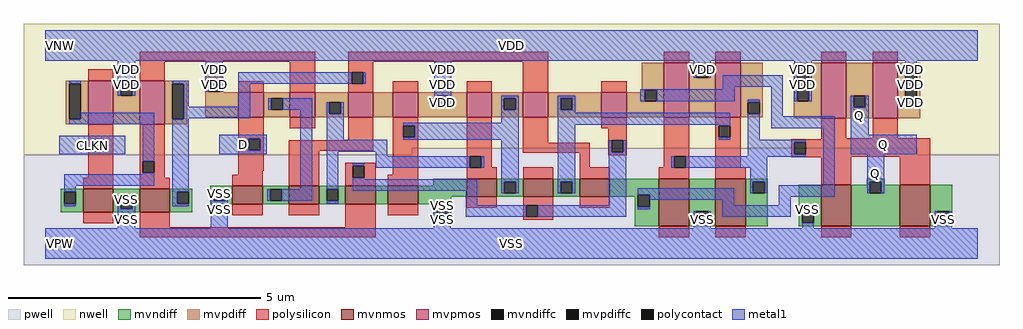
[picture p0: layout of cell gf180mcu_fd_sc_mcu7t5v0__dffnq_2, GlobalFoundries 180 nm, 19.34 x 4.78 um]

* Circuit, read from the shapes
.subckt gf180mcu_fd_sc_mcu7t5v0__dffnq_2 D CLKN Q VDD VNW VPW VSS
XM1 VSS CLKN n1 VPW nfet_06v0 w=0.465u l=0.6u
XM2 n2 n1 VSS VPW nfet_06v0 w=0.465u l=0.6u
XM3 n3 D VSS VPW nfet_06v0 w=0.36u l=0.6u
XM4 n4 n2 n3 VPW nfet_06v0 w=0.36u l=0.6u
XM5 n5 n1 n4 VPW nfet_06v0 w=0.36u l=0.6u
XM6 VSS n6 n5 VPW nfet_06v0 w=0.36u l=0.6u
XM7 n6 n4 VSS VPW nfet_06v0 w=0.36u l=0.6u
XM8 n7 n1 n6 VPW nfet_06v0 w=0.36u l=0.6u
XM9 n8 n2 n7 VPW nfet_06v0 w=0.36u l=0.6u
XM10 VSS n9 n8 VPW nfet_06v0 w=0.945u l=0.6u
XM11 n9 n7 VSS VPW nfet_06v0 w=0.945u l=0.6u
XM12 Q n9 VSS VPW nfet_06v0 w=0.82u l=0.6u m=2
XM13 VDD CLKN n1 VNW pfet_06v0 w=0.865u l=0.5u
XM14 n2 n1 VDD VNW pfet_06v0 w=0.865u l=0.5u
XM15 n3 D VDD VNW pfet_06v0 w=0.495u l=0.5u
XM16 n4 n1 n3 VNW pfet_06v0 w=0.495u l=0.5u
XM17 n10 n2 n4 VNW pfet_06v0 w=0.495u l=0.5u
XM18 VDD n6 n10 VNW pfet_06v0 w=0.495u l=0.5u
XM19 n6 n4 VDD VNW pfet_06v0 w=0.495u l=0.5u
XM20 n7 n2 n6 VNW pfet_06v0 w=0.495u l=0.5u
XM21 n8 n1 n7 VNW pfet_06v0 w=0.495u l=0.5u
XM22 VDD n9 n8 VNW pfet_06v0 w=1.075u l=0.5u
XM23 n9 n7 VDD VNW pfet_06v0 w=1.075u l=0.5u
XM24 Q n9 VDD VNW pfet_06v0 w=1.095u l=0.5u m=2
.ends

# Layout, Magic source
magic
tech gf180mcuD
magscale 1 10
<< nwell >>
rect -86 377 3782 870
rect -86 352 1453 377
rect 3455 352 3782 377
<< pwell >>
rect 1453 352 3455 377
rect -86 -86 3782 352
<< mvnmos >>
rect 150 124 270 217
rect 374 124 494 217
rect 742 156 862 228
rect 966 156 1086 228
rect 1190 156 1310 228
rect 1358 156 1478 228
rect 1670 185 1790 257
rect 1894 185 2014 257
rect 2118 185 2238 257
rect 2432 68 2552 257
rect 2656 68 2776 257
rect 3075 68 3195 232
rect 3387 68 3507 232
<< mvpmos >>
rect 170 472 270 645
rect 374 472 474 645
rect 766 500 866 599
rect 970 500 1070 599
rect 1201 500 1301 599
rect 1378 500 1478 599
rect 1670 500 1770 599
rect 1893 500 1993 599
rect 2204 500 2304 599
rect 2452 500 2552 715
rect 2656 500 2756 715
rect 3075 497 3175 716
rect 3279 497 3379 716
<< mvndiff >>
rect 1538 228 1670 257
rect 62 204 150 217
rect 62 158 75 204
rect 121 158 150 204
rect 62 124 150 158
rect 270 183 374 217
rect 270 137 299 183
rect 345 137 374 183
rect 270 124 374 137
rect 494 204 582 217
rect 494 158 523 204
rect 569 158 582 204
rect 494 124 582 158
rect 654 215 742 228
rect 654 169 667 215
rect 713 169 742 215
rect 654 156 742 169
rect 862 215 966 228
rect 862 169 891 215
rect 937 169 966 215
rect 862 156 966 169
rect 1086 215 1190 228
rect 1086 169 1115 215
rect 1161 169 1190 215
rect 1086 156 1190 169
rect 1310 156 1358 228
rect 1478 185 1670 228
rect 1790 244 1894 257
rect 1790 198 1819 244
rect 1865 198 1894 244
rect 1790 185 1894 198
rect 2014 244 2118 257
rect 2014 198 2043 244
rect 2089 198 2118 244
rect 2014 185 2118 198
rect 2238 192 2432 257
rect 2238 185 2349 192
rect 1478 162 1610 185
rect 1478 156 1551 162
rect 1538 116 1551 156
rect 1597 116 1610 162
rect 1538 103 1610 116
rect 2336 146 2349 185
rect 2395 146 2432 192
rect 2336 68 2432 146
rect 2552 127 2656 257
rect 2552 81 2581 127
rect 2627 81 2656 127
rect 2552 68 2656 81
rect 2776 244 2864 257
rect 2776 198 2805 244
rect 2851 198 2864 244
rect 3255 244 3327 257
rect 3255 232 3268 244
rect 2776 68 2864 198
rect 2987 127 3075 232
rect 2987 81 3000 127
rect 3046 81 3075 127
rect 2987 68 3075 81
rect 3195 198 3268 232
rect 3314 232 3327 244
rect 3314 198 3387 232
rect 3195 68 3387 198
rect 3507 127 3595 232
rect 3507 81 3536 127
rect 3582 81 3595 127
rect 3507 68 3595 81
<< mvpdiff >>
rect 634 647 706 660
rect 82 632 170 645
rect 82 492 95 632
rect 141 492 170 632
rect 82 472 170 492
rect 270 632 374 645
rect 270 586 299 632
rect 345 586 374 632
rect 270 472 374 586
rect 474 632 562 645
rect 474 492 503 632
rect 549 492 562 632
rect 634 601 647 647
rect 693 601 706 647
rect 634 599 706 601
rect 2364 609 2452 715
rect 2364 599 2377 609
rect 634 500 766 599
rect 866 575 970 599
rect 866 529 895 575
rect 941 529 970 575
rect 866 500 970 529
rect 1070 559 1201 599
rect 1070 513 1126 559
rect 1172 513 1201 559
rect 1070 500 1201 513
rect 1301 500 1378 599
rect 1478 586 1670 599
rect 1478 540 1552 586
rect 1598 540 1670 586
rect 1478 500 1670 540
rect 1770 575 1893 599
rect 1770 529 1818 575
rect 1864 529 1893 575
rect 1770 500 1893 529
rect 1993 575 2204 599
rect 1993 529 2043 575
rect 2089 529 2204 575
rect 1993 500 2204 529
rect 2304 563 2377 599
rect 2423 563 2452 609
rect 2304 500 2452 563
rect 2552 702 2656 715
rect 2552 656 2581 702
rect 2627 656 2656 702
rect 2552 500 2656 656
rect 2756 559 2844 715
rect 2756 513 2785 559
rect 2831 513 2844 559
rect 2756 500 2844 513
rect 2967 703 3075 716
rect 2967 563 2980 703
rect 3026 563 3075 703
rect 474 472 562 492
rect 2967 497 3075 563
rect 3175 586 3279 716
rect 3175 540 3204 586
rect 3250 540 3279 586
rect 3175 497 3279 540
rect 3379 703 3467 716
rect 3379 563 3408 703
rect 3454 563 3467 703
rect 3379 497 3467 563
<< mvndiffc >>
rect 75 158 121 204
rect 299 137 345 183
rect 523 158 569 204
rect 667 169 713 215
rect 891 169 937 215
rect 1115 169 1161 215
rect 1819 198 1865 244
rect 2043 198 2089 244
rect 1551 116 1597 162
rect 2349 146 2395 192
rect 2581 81 2627 127
rect 2805 198 2851 244
rect 3000 81 3046 127
rect 3268 198 3314 244
rect 3536 81 3582 127
<< mvpdiffc >>
rect 95 492 141 632
rect 299 586 345 632
rect 503 492 549 632
rect 647 601 693 647
rect 895 529 941 575
rect 1126 513 1172 559
rect 1552 540 1598 586
rect 1818 529 1864 575
rect 2043 529 2089 575
rect 2377 563 2423 609
rect 2581 656 2627 702
rect 2785 513 2831 559
rect 2980 563 3026 703
rect 3204 540 3250 586
rect 3408 563 3454 703
<< polysilicon >>
rect 374 720 1070 760
rect 170 645 270 690
rect 374 645 474 720
rect 766 599 866 643
rect 970 599 1070 720
rect 1201 720 1993 760
rect 1201 678 1301 720
rect 1201 632 1214 678
rect 1260 632 1301 678
rect 1201 599 1301 632
rect 1378 599 1478 643
rect 1670 599 1770 643
rect 1893 599 1993 720
rect 2452 715 2552 760
rect 2656 715 2756 760
rect 3075 716 3175 760
rect 3279 716 3379 760
rect 2204 599 2304 643
rect 170 412 270 472
rect 170 366 183 412
rect 229 366 270 412
rect 170 261 270 366
rect 150 217 270 261
rect 374 326 474 472
rect 374 280 387 326
rect 433 280 474 326
rect 374 261 474 280
rect 766 415 866 500
rect 970 456 1070 500
rect 766 369 807 415
rect 853 369 866 415
rect 1201 408 1301 500
rect 766 288 866 369
rect 966 368 1301 408
rect 1378 467 1478 500
rect 1378 421 1419 467
rect 1465 421 1478 467
rect 766 272 862 288
rect 374 217 494 261
rect 742 228 862 272
rect 966 228 1086 368
rect 1190 307 1310 320
rect 1190 261 1218 307
rect 1264 261 1310 307
rect 1378 272 1478 421
rect 1190 228 1310 261
rect 1358 228 1478 272
rect 1670 346 1770 500
rect 1893 399 1993 500
rect 2204 456 2304 500
rect 2232 408 2304 456
rect 1893 359 2158 399
rect 1670 300 1683 346
rect 1729 301 1770 346
rect 2118 301 2158 359
rect 2232 362 2245 408
rect 2291 362 2304 408
rect 2232 349 2304 362
rect 2452 346 2552 500
rect 2452 301 2493 346
rect 1729 300 1790 301
rect 1670 257 1790 300
rect 1894 257 2014 301
rect 2118 257 2238 301
rect 2432 300 2493 301
rect 2539 300 2552 346
rect 2432 257 2552 300
rect 2656 467 2756 500
rect 2656 421 2669 467
rect 2715 421 2756 467
rect 2656 301 2756 421
rect 3075 416 3175 497
rect 3279 416 3379 497
rect 3075 413 3507 416
rect 2956 400 3507 413
rect 2956 354 2969 400
rect 3015 354 3507 400
rect 2956 344 3507 354
rect 2956 341 3195 344
rect 2656 257 2776 301
rect 150 80 270 124
rect 374 64 494 124
rect 742 112 862 156
rect 966 112 1086 156
rect 1190 64 1310 156
rect 1358 112 1478 156
rect 1670 141 1790 185
rect 1894 152 2014 185
rect 1894 106 1907 152
rect 1953 106 2014 152
rect 2118 141 2238 185
rect 1894 93 2014 106
rect 3075 232 3195 341
rect 3387 232 3507 344
rect 374 24 1310 64
rect 2432 24 2552 68
rect 2656 24 2776 68
rect 3075 24 3195 68
rect 3387 24 3507 68
<< polycontact >>
rect 1214 632 1260 678
rect 183 366 229 412
rect 387 280 433 326
rect 807 369 853 415
rect 1419 421 1465 467
rect 1218 261 1264 307
rect 1683 300 1729 346
rect 2245 362 2291 408
rect 2493 300 2539 346
rect 2669 421 2715 467
rect 2969 354 3015 400
rect 1907 106 1953 152
<< metal1 >>
rect 0 724 3696 844
rect 95 632 141 645
rect 288 632 356 724
rect 636 647 704 724
rect 288 586 299 632
rect 345 586 356 632
rect 503 632 569 645
rect 141 492 433 518
rect 95 472 433 492
rect 56 412 318 426
rect 56 366 183 412
rect 229 366 318 412
rect 56 354 318 366
rect 387 326 433 472
rect 387 275 433 280
rect 75 229 433 275
rect 549 542 569 632
rect 636 601 647 647
rect 693 601 704 647
rect 766 632 1214 678
rect 1260 632 1271 678
rect 766 542 812 632
rect 1541 586 1609 724
rect 2570 702 2638 724
rect 2570 656 2581 702
rect 2627 656 2638 702
rect 2969 703 3037 724
rect 2686 620 2923 666
rect 2686 610 2732 620
rect 2358 609 2732 610
rect 549 496 812 542
rect 884 529 895 575
rect 941 529 1058 575
rect 549 492 569 496
rect 75 204 121 229
rect 503 204 569 492
rect 690 415 878 430
rect 690 369 807 415
rect 853 369 878 415
rect 690 354 878 369
rect 1011 215 1058 529
rect 75 147 121 158
rect 288 137 299 183
rect 345 137 356 183
rect 503 158 523 204
rect 503 147 569 158
rect 656 169 667 215
rect 713 169 724 215
rect 880 169 891 215
rect 937 169 1058 215
rect 1115 513 1126 559
rect 1172 513 1183 559
rect 1541 540 1552 586
rect 1598 540 1609 586
rect 1808 575 1876 586
rect 1115 410 1183 513
rect 1808 529 1818 575
rect 1864 529 1876 575
rect 1808 478 1876 529
rect 1419 467 1876 478
rect 1465 421 1876 467
rect 1419 410 1876 421
rect 1115 364 1356 410
rect 1115 215 1161 364
rect 1310 346 1356 364
rect 1218 307 1264 318
rect 1310 300 1683 346
rect 1729 300 1740 346
rect 1218 254 1264 261
rect 1218 208 1712 254
rect 288 60 356 137
rect 656 60 724 169
rect 1115 158 1161 169
rect 1540 116 1551 162
rect 1597 116 1608 162
rect 1540 60 1608 116
rect 1666 152 1712 208
rect 1808 244 1876 410
rect 1808 198 1819 244
rect 1865 198 1876 244
rect 2032 575 2100 586
rect 2032 529 2043 575
rect 2089 529 2100 575
rect 2358 563 2377 609
rect 2423 563 2732 609
rect 2032 517 2100 529
rect 2785 559 2831 570
rect 2032 471 2715 517
rect 2032 244 2100 471
rect 2669 467 2715 471
rect 2669 410 2715 421
rect 2785 411 2831 513
rect 2877 503 2923 620
rect 2969 563 2980 703
rect 3026 563 3037 703
rect 3408 703 3454 724
rect 3193 540 3204 586
rect 3250 540 3263 586
rect 3408 552 3454 563
rect 2877 457 3129 503
rect 2032 198 2043 244
rect 2089 198 2100 244
rect 2234 362 2245 408
rect 2291 362 2302 408
rect 2234 152 2302 362
rect 2785 400 3015 411
rect 2785 354 2969 400
rect 2785 346 3015 354
rect 2482 300 2493 346
rect 2539 343 3015 346
rect 2539 300 2862 343
rect 2482 299 2862 300
rect 2794 244 2862 299
rect 1666 106 1907 152
rect 1953 106 2302 152
rect 2349 192 2730 219
rect 2794 198 2805 244
rect 2851 198 2862 244
rect 3083 230 3129 457
rect 3193 430 3263 540
rect 3193 354 3454 430
rect 2395 173 2730 192
rect 2349 135 2395 146
rect 2684 152 2730 173
rect 2908 184 3129 230
rect 3257 244 3325 354
rect 3257 198 3268 244
rect 3314 198 3325 244
rect 2908 152 2954 184
rect 2570 81 2581 127
rect 2627 81 2638 127
rect 2684 106 2954 152
rect 3000 127 3046 138
rect 2570 60 2638 81
rect 3000 60 3046 81
rect 3525 81 3536 127
rect 3582 81 3593 127
rect 3525 60 3593 81
rect 0 -60 3696 60
<< labels >>
flabel metal1 s 690 354 878 430 0 FreeSans 600 0 0 0 D
port 1 nsew default input
flabel metal1 s 3193 430 3263 586 0 FreeSans 600 0 0 0 Q
port 3 nsew default output
flabel metal1 s 0 724 3696 844 0 FreeSans 600 0 0 0 VDD
port 4 nsew power bidirectional abutment
flabel metal1 s 656 183 724 215 0 FreeSans 600 0 0 0 VSS
port 7 nsew ground bidirectional abutment
flabel metal1 s 56 354 318 426 0 FreeSans 600 0 0 0 CLKN
port 2 nsew clock input
flabel nwell s 10 734 110 834 0 FreeSans 400 0 0 0 VNW
port 5 nsew power bidirectional
flabel pwell s 10 -50 110 50 0 FreeSans 400 0 0 0 VPW
port 6 nsew ground bidirectional
rlabel metal1 s 3193 354 3454 430 1 Q
port 3 nsew default output
rlabel metal1 s 3257 198 3325 354 1 Q
port 3 nsew default output
rlabel metal1 s 3408 656 3454 724 1 VDD
port 4 nsew power bidirectional abutment
rlabel metal1 s 2969 656 3037 724 1 VDD
port 4 nsew power bidirectional abutment
rlabel metal1 s 2570 656 2638 724 1 VDD
port 4 nsew power bidirectional abutment
rlabel metal1 s 1541 656 1609 724 1 VDD
port 4 nsew power bidirectional abutment
rlabel metal1 s 636 656 704 724 1 VDD
port 4 nsew power bidirectional abutment
rlabel metal1 s 288 656 356 724 1 VDD
port 4 nsew power bidirectional abutment
rlabel metal1 s 3408 601 3454 656 1 VDD
port 4 nsew power bidirectional abutment
rlabel metal1 s 2969 601 3037 656 1 VDD
port 4 nsew power bidirectional abutment
rlabel metal1 s 1541 601 1609 656 1 VDD
port 4 nsew power bidirectional abutment
rlabel metal1 s 636 601 704 656 1 VDD
port 4 nsew power bidirectional abutment
rlabel metal1 s 288 601 356 656 1 VDD
port 4 nsew power bidirectional abutment
rlabel metal1 s 3408 586 3454 601 1 VDD
port 4 nsew power bidirectional abutment
rlabel metal1 s 2969 586 3037 601 1 VDD
port 4 nsew power bidirectional abutment
rlabel metal1 s 1541 586 1609 601 1 VDD
port 4 nsew power bidirectional abutment
rlabel metal1 s 288 586 356 601 1 VDD
port 4 nsew power bidirectional abutment
rlabel metal1 s 3408 563 3454 586 1 VDD
port 4 nsew power bidirectional abutment
rlabel metal1 s 2969 563 3037 586 1 VDD
port 4 nsew power bidirectional abutment
rlabel metal1 s 1541 563 1609 586 1 VDD
port 4 nsew power bidirectional abutment
rlabel metal1 s 3408 552 3454 563 1 VDD
port 4 nsew power bidirectional abutment
rlabel metal1 s 1541 552 1609 563 1 VDD
port 4 nsew power bidirectional abutment
rlabel metal1 s 1541 540 1609 552 1 VDD
port 4 nsew power bidirectional abutment
rlabel metal1 s 656 162 724 183 1 VSS
port 7 nsew ground bidirectional abutment
rlabel metal1 s 288 162 356 183 1 VSS
port 7 nsew ground bidirectional abutment
rlabel metal1 s 1540 138 1608 162 1 VSS
port 7 nsew ground bidirectional abutment
rlabel metal1 s 656 138 724 162 1 VSS
port 7 nsew ground bidirectional abutment
rlabel metal1 s 288 138 356 162 1 VSS
port 7 nsew ground bidirectional abutment
rlabel metal1 s 3000 127 3046 138 1 VSS
port 7 nsew ground bidirectional abutment
rlabel metal1 s 1540 127 1608 138 1 VSS
port 7 nsew ground bidirectional abutment
rlabel metal1 s 656 127 724 138 1 VSS
port 7 nsew ground bidirectional abutment
rlabel metal1 s 288 127 356 138 1 VSS
port 7 nsew ground bidirectional abutment
rlabel metal1 s 3525 60 3593 127 1 VSS
port 7 nsew ground bidirectional abutment
rlabel metal1 s 3000 60 3046 127 1 VSS
port 7 nsew ground bidirectional abutment
rlabel metal1 s 2570 60 2638 127 1 VSS
port 7 nsew ground bidirectional abutment
rlabel metal1 s 1540 60 1608 127 1 VSS
port 7 nsew ground bidirectional abutment
rlabel metal1 s 656 60 724 127 1 VSS
port 7 nsew ground bidirectional abutment
rlabel metal1 s 288 60 356 127 1 VSS
port 7 nsew ground bidirectional abutment
rlabel metal1 s 0 -60 3696 60 1 VSS
port 7 nsew ground bidirectional abutment
<< properties >>
string FIXED_BBOX 0 0 3696 784
string GDS_END 873106
string GDS_FILE $PDKPATH/libs.ref/gf180mcu_fd_sc_mcu7t5v0/gds/gf180mcu_fd_sc_mcu7t5v0.gds
string GDS_START 865230
string LEFclass core
string LEFsite GF018hv5v_mcu_sc7
string LEFsymmetry X Y
<< end >>
